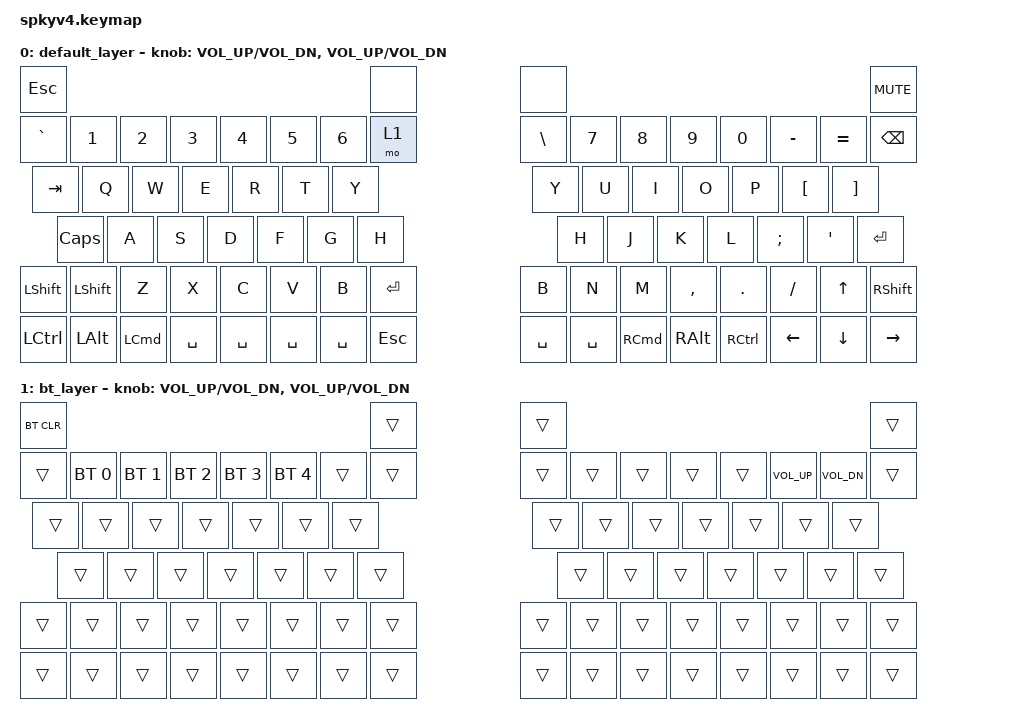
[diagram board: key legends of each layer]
#include <behaviors.dtsi>
#include <dt-bindings/zmk/keys.h>
#include <dt-bindings/zmk/bt.h>

#define HYP LS(LC(LA(LCMD)))
#define MEH LS(LC(LALT))
#define HYPER_Y LS(LC(LA(LG(Y))))



// RC(2,0)                                                 RC(1,7)          RC(2,8)                                                      RC(1,15)
// RC(0,0) RC(0,1) RC(0,2) RC(0,3) RC(0,4) RC(0,5) RC(0,6) RC(0,7)          RC(0,8) RC(0,9) RC(0,10) RC(0,11) RC(0,12) RC(0,13) RC(0,14) RC(0,15)
//   RC(1,0) RC(1,1) RC(1,2) RC(1,3) RC(1,4) RC(1,5) RC(1,6)                    RC(1,8) RC(1,9) RC(1,10) RC(1,11) RC(1,12) RC(1,13) RC(1,14)
//      RC(2,1) RC(2,2) RC(2,3) RC(2,4) RC(2,5) RC(2,6) RC(2,7)                    RC(2,9) RC(2,10) RC(2,11) RC(2,12) RC(2,13) RC(2,14) RC(2,15)
//  RC(3,0) RC(3,1) RC(3,2) RC(3,3) RC(3,4) RC(3,5) RC(3,6) RC(3,7)          RC(3,8) RC(3,9) RC(3,10) RC(3,11) RC(3,12) RC(3,13) RC(3,14) RC(3,15)
//  RC(4,0) RC(4,1) RC(4,2) RC(4,3) RC(4,4) RC(4,5) RC(4,6) RC(4,7)          RC(4,8) RC(4,9) RC(4,10) RC(4,11) RC(4,12) RC(4,13) RC(4,14) RC(4,15)

/ {
        keymap {
                compatible = "zmk,keymap";

                default_layer {
                        bindings = <
&kp ESC                                                                             &none                                               &none                                                                                           &kp C_MUTE
&kp GRAVE   &kp N1      &kp N2      &kp N3      &kp N4      &kp N5      &kp N6      &mo 1                                               &kp BSLH        &kp N7      &kp N8      &kp N9      &kp N0      &kp MINUS       &kp EQUAL       &kp BSPC
    &kp TAB     &kp Q       &kp W       &kp E       &kp R       &kp T       &kp Y                                                           &kp Y           &kp U       &kp I       &kp O       &kp P       &kp LBKT        &kp RBKT
        &kp CAPS    &kp A       &kp S       &kp D       &kp F       &kp G       &kp H                                                           &kp H           &kp J       &kp K       &kp L       &kp SEMI    &kp SQT         &kp ENTER
&kp LSHFT   &kp LSHFT   &kp Z       &kp X       &kp C       &kp V       &kp B       &kp ENTER                                           &kp B           &kp N       &kp M       &kp COMMA   &kp DOT     &kp FSLH        &kp UP          &kp RSHFT
&kp LCTRL   &kp LALT    &kp LCMD    &kp SPACE   &kp SPACE   &kp SPACE   &kp SPACE   &kp ESC                                             &kp SPACE       &kp SPACE   &kp RCMD    &kp RALT    &kp RCTRL   &kp LEFT        &kp DOWN        &kp RIGHT
                        >;

                        sensor-bindings = <&inc_dec_kp C_VOL_UP C_VOL_DN            &inc_dec_kp C_VOL_UP C_VOL_DN>;
                };

                
                bt_layer {
                        bindings = <
&bt BT_CLR                                                                                                      &trans                  &trans                                                                                      &trans
&trans          &bt BT_SEL 0    &bt BT_SEL 1    &bt BT_SEL 2    &bt BT_SEL 3    &bt BT_SEL 4    &trans          &trans                  &trans      &trans      &trans      &trans      &trans      &kp C_VOL_UP    &kp C_VOL_DN    &trans
    &trans         &trans          &trans           &trans         &trans          &trans          &trans                                   &trans      &trans      &trans      &trans      &trans      &trans          &trans
        &trans         &trans          &trans           &trans         &trans         &trans            &trans                                 &trans      &trans      &trans      &trans      &trans      &trans           &trans
&trans          &trans          &trans          &trans          &trans          &trans          &trans          &trans                  &trans      &trans      &trans      &trans      &trans      &trans          &trans          &trans
&trans          &trans          &trans          &trans          &trans          &trans          &trans          &trans                  &trans      &trans      &trans      &trans      &trans      &trans          &trans          &trans
                        >;

                        sensor-bindings = <&inc_dec_kp C_VOL_UP C_VOL_DN            &inc_dec_kp C_VOL_UP C_VOL_DN>;
                };

        };
};
